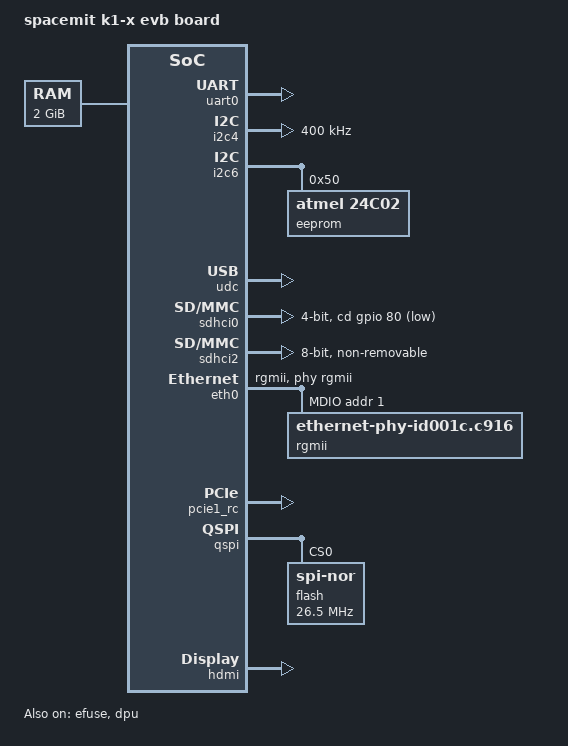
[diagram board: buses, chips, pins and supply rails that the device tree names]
// SPDX-License-Identifier: (GPL-2.0 OR MIT)
/* Copyright (c) 2023 Spacemit, Inc */

/dts-v1/;

#include "k1-x.dtsi"
#include "k1-x_pinctrl.dtsi"
#include "k1-x_pm853.dtsi"

/ {
	model = "spacemit k1-x evb board";

	aliases {
		efuse_power = &ldo_15;
	};

	memory@0 {
		device_type = "memory";
		reg = <0x00000000 0x00000000 0x00000000 0x80000000>;
	};

	chosen {
		bootargs = "earlycon=sbi console=ttyS0,115200 debug loglevel=8,initcall_debug=1 rdinit=/init.tmp";
		stdout-path = "serial0:115200n8";
	};
};

&cpu_0 {
	/* boot frequency for cluster-0, should be 1600000, 1228000, 819000, or 614000 */
	boot_freq_cluster0 = <1228000>;
	/* boot frequency for cluster-1, should be 1600000, 1228000, 819000, or 614000 */
	boot_freq_cluster1 = <1228000>;
};

&dramc {
	/* dram data rate, should be 1200, 1600, or 2400 */
	datarate = <2400>;
};

&cpus {
	timebase-frequency = <24000000>;
};

&uart0 {
	status = "okay";
};

&i2c0 {
	status = "disabled";
};

&i2c1 {
	status = "disabled";
};

&i2c2 {
	status = "disabled";
};

&i2c3 {
	status = "disabled";
};

&i2c4 {
	clock-frequency = <400000>;
	status = "okay";
};

&i2c5 {
	status = "disabled";
};

&i2c6 {
	#address-cells = <1>;
	#size-cells = <0>;
	pinctrl-names = "default";
	status = "okay";

	eeprom@50{
		compatible = "atmel,24c02";
		reg = <0x50>;
		bus = <6>;
		#address-cells = <1>;
		#size-cells = <1>;
		status = "okay";
	};
};

&i2c7 {
	status = "disabled";
};

&pinctrl {
	usbp1_vbus: usbp1_vbus {
		pinctrl-single,pins =<
			K1X_PADCONF(GPIO_66, MUX_MODE0, (EDGE_NONE | PULL_UP | PAD_1V8_DS2))    /* drive_vbus1_iso */
		>;
	};

	gpio80_pmx_func0: gpio80_pmx_func0 {
		pinctrl-single,pins = <
			K1X_PADCONF(GPIO_80, MUX_MODE0, (EDGE_BOTH | PULL_UP | PAD_3V_DS4))  /* mmc cd */
		>;
	};
};

&udc {
	status = "okay";
};

&usbphy1 {
	status = "disabled";
};

&ehci1 {
	pinctrl-names = "default";
	pinctrl-0 = <&usbp1_vbus>;
	status = "disabled";
};

&usbdrd3 {
	status = "disabled";
	dwc3@c0a00000 {
		maximum-speed = "high-speed";
		dr_mode = "peripheral";
		phy_type = "utmi_wide";
		snps,dis_enblslpm_quirk;
	};
};

&sdhci0 {
	pinctrl-names = "default";
	pinctrl-0 = <&pinctrl_mmc1 &gpio80_pmx_func0>;
	bus-width = <4>;
	cd-gpios = <&gpio 80 0>;
	cd-inverted;
	cap-sd-highspeed;
	sdh-phy-module = <0>;
	clk-src-freq = <204800000>;
	status = "okay";
};

/* eMMC */
&sdhci2 {
	bus-width = <8>;
	non-removable;
	mmc-hs400-1_8v;
	mmc-hs400-enhanced-strobe;
	sdh-phy-module = <1>;
	clk-src-freq = <375000000>;
	status = "okay";
};

&eth0 {
	status = "okay";
	pinctrl-names = "default";
	pinctrl-0 = <&pinctrl_gmac0>;

	phy-reset-pin = <44>;

	clk_tuning_enable;
	clk-tuning-by-delayline;
	tx-phase = <90>;
	rx-phase = <73>;

	phy-mode = "rgmii";
	phy-addr = <1>;
	phy-handle = <&rgmii>;

	ref-clock-from-phy;

	mdio {
		#address-cells = <0x1>;
		#size-cells = <0x0>;
		rgmii: phy@0 {
			compatible = "ethernet-phy-id001c.c916";
			device_type = "ethernet-phy";
			reg = <0x1>;
		};
	};
};

&pcie0_rc {
	status = "disabled";
};

&pcie1_rc {
	status = "okay";

	pinctrl-names = "default";
	pinctrl-0 = <&pinctrl_pcie1_0>;
};

&qspi {
	status = "okay";
	pinctrl-names = "default";
	pinctrl-0 = <&pinctrl_qspi>;

	flash@0 {
		compatible = "jedec,spi-nor";
		reg = <0>;
		spi-max-frequency = <26500000>;

		m25p,fast-read;
		broken-flash-reset;
		status = "okay";
	};
};

&efuse {
	status = "okay";
};

&dpu {
	status = "okay";
};

&hdmi {
	pinctrl-names = "default";
	pinctrl-0 = <&pinctrl_hdmi_0>;
	status = "okay";
};

&ldo_13 {
	regulator-init-microvolt = <2800000>;
	regulator-boot-on;
	regulator-state-mem {
			regulator-off-in-suspend;
	};
};

&ldo_15 {
	regulator-init-microvolt = <1800000>;
	regulator-boot-on;
	regulator-state-mem {
			regulator-off-in-suspend;
	};
};

&ldo_17 {
	regulator-init-microvolt = <1200000>;
	regulator-boot-on;
	regulator-state-mem {
			regulator-off-in-suspend;
	};
};

&mipi_dsi {
	status = "disabled";
};

&panel {
	dcp-gpios = <&gpio 21 0>;
	dcn-gpios = <&gpio 22 0>;
	bl-gpios = <&gpio 23 0>;
	reset-gpios = <&gpio 24 0>;
	status = "disabled";
};
